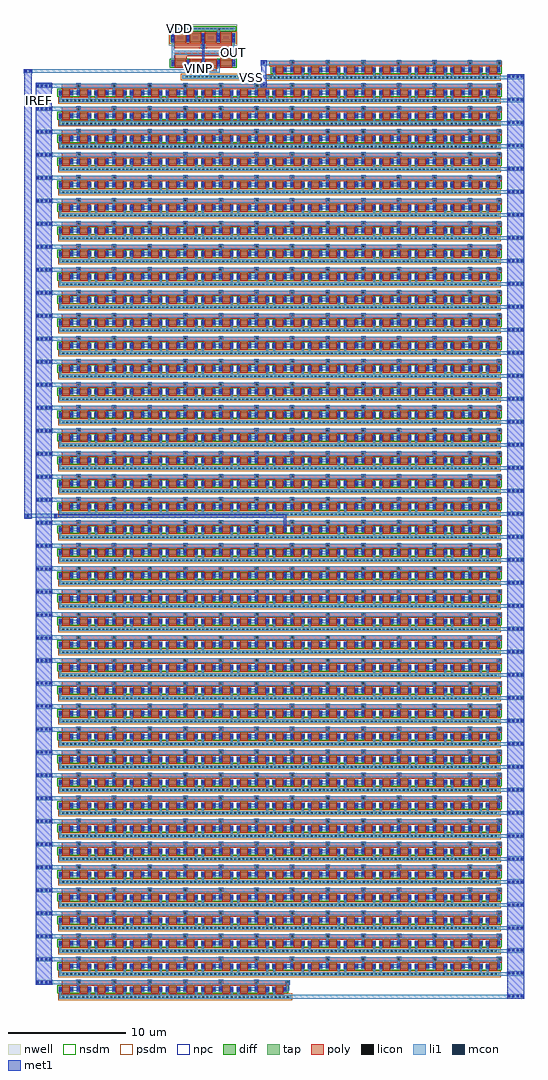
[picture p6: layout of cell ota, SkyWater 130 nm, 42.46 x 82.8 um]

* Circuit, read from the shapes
.subckt ota IREF OUT VDD VINN VINP VSS
XM1 IREF IREF VSS VSS sky130_fd_pr__nfet_01v8 w=0.42 l=0.65 m=1000
XM2 mirror_2/IOUT VINN OUT VSS sky130_fd_pr__nfet_01v8 w=0.5 l=1 m=2
XM3 sky130_fd_pr__nfet_01v8_RARW6L_1/D2 VINP mirror_2/IOUT VSS sky130_fd_pr__nfet_01v8 w=0.5 l=1 m=2
XM4 mirror_2/IOUT IREF VSS VSS sky130_fd_pr__nfet_01v8 w=0.42 l=0.65
XM5 VDD sky130_fd_pr__nfet_01v8_RARW6L_1/D2 OUT VDD sky130_fd_pr__pfet_01v8 w=0.75 l=1 m=2
XM6 sky130_fd_pr__nfet_01v8_RARW6L_1/D2 sky130_fd_pr__nfet_01v8_RARW6L_1/D2 VDD VDD sky130_fd_pr__pfet_01v8 w=0.75 l=1 m=2
.ends

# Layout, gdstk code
import gdstk
lib = gdstk.Library(unit=1e-6, precision=1e-09)
def R(c, l, rs):  # rectangles x0, y0, x1, y1
    for r in rs: c.add(gdstk.rectangle(r[:2], r[2:], *l))
def A(c, l, x, y, w, h, nx, ny, dx, dy):  # array of equal rectangles
    R(c, l, [(x+i*dx, y+j*dy, x+i*dx+w, y+j*dy+h) for i in range(nx) for j in range(ny)])
nwell = (64, 20)
diff = (65, 20)
tap = (65, 44)
poly = (66, 20)
licon = (66, 44)
li1 = (67, 20)
mcon = (67, 44)
met1 = (68, 20)
nsdm = (93, 44)
psdm = (94, 20)
npc = (95, 20)

sky130_fd_pr__pfet_01v8_ = lib.new_cell('sky130_fd_pr__pfet_01v8_C4AHC5')
R(sky130_fd_pr__pfet_01v8_, nwell, [(-2.905,-0.685,2.905,0.685)])
R(sky130_fd_pr__pfet_01v8_, diff, [(-2.725,-0.375,2.725,0.375)])
A(sky130_fd_pr__pfet_01v8_, poly, -2.435, -0.505, 1, 1.01, 4, 1, 1.29, 0)
A(sky130_fd_pr__pfet_01v8_, licon, -2.665, -0.255, 0.17, 0.17, 5, 2, 1.29, 0.34)
A(sky130_fd_pr__pfet_01v8_, li1, -2.665, -0.395, 0.17, 0.79, 5, 1, 1.29, 0)
A(sky130_fd_pr__pfet_01v8_, mcon, -2.665, -0.265, 0.17, 0.17, 5, 2, 1.29, 0.36)
A(sky130_fd_pr__pfet_01v8_, met1, -2.695, -0.375, 0.23, 0.75, 5, 1, 1.29, 0)
R(sky130_fd_pr__pfet_01v8_, psdm, [(-2.85,-0.5,2.85,0.5)])
sky130_fd_pr__pfet_01v8_.add(gdstk.Label('D0', (-2.58,0), layer=67, texttype=5))
sky130_fd_pr__pfet_01v8_.add(gdstk.Label('S1', (-1.29,0), layer=67, texttype=5))
sky130_fd_pr__pfet_01v8_.add(gdstk.Label('D2', (0,0), layer=67, texttype=5))
sky130_fd_pr__pfet_01v8_.add(gdstk.Label('S3', (1.29,0), layer=67, texttype=5))

sky130_fd_pr__nfet_01v8_ = lib.new_cell('sky130_fd_pr__nfet_01v8_RARW6L')
R(sky130_fd_pr__nfet_01v8_, diff, [(-2.725,-0.25,2.725,0.25)])
A(sky130_fd_pr__nfet_01v8_, poly, -2.435, -0.38, 1, 0.76, 4, 1, 1.29, 0)
A(sky130_fd_pr__nfet_01v8_, licon, -2.665, -0.085, 0.17, 0.17, 5, 1, 1.29, 0)
A(sky130_fd_pr__nfet_01v8_, li1, -2.665, -0.27, 0.17, 0.54, 5, 1, 1.29, 0)
A(sky130_fd_pr__nfet_01v8_, mcon, -2.665, -0.085, 0.17, 0.17, 5, 1, 1.29, 0)
A(sky130_fd_pr__nfet_01v8_, met1, -2.695, -0.25, 0.23, 0.5, 5, 1, 1.29, 0)
R(sky130_fd_pr__nfet_01v8_, nsdm, [(-2.85,-0.375,2.85,0.375)])
sky130_fd_pr__nfet_01v8_.add(gdstk.Label('D0', (-2.58,0), layer=67, texttype=5))
sky130_fd_pr__nfet_01v8_.add(gdstk.Label('S1', (-1.29,0), layer=67, texttype=5))
sky130_fd_pr__nfet_01v8_.add(gdstk.Label('D2', (0,0), layer=67, texttype=5))
sky130_fd_pr__nfet_01v8_.add(gdstk.Label('S3', (1.29,0), layer=67, texttype=5))

top = lib.new_cell('top')
A(top, diff, 26.92, 8.08, 1.23, 0.42, 13, 1, 1.51, 0)
R(top, tap, [(26.515,7.5,46.15,7.8)])
A(top, poly, 27.21, 7.95, 0.65, 0.65, 13, 1, 1.51, 0)
R(top, poly, [(26.64,8.6,46.4,9.05)])
A(top, licon, 26.715, 7.515, 0.17, 0.17, 57, 1, 0.34, 0)
A(top, licon, 28.515, 8.815, 0.17, 0.17, 6, 1, 3.02, 0)
R(top, licon, [(26.98,8.205,27.15,8.375), (27.92,8.205,28.09,8.375), (28.49,8.205,28.66,8.375), (29.43,8.205,29.6,8.375), (30,8.205,30.17,8.375), (30.94,8.205,31.11,8.375), (31.51,8.205,31.68,8.375), (32.45,8.205,32.62,8.375), (33.02,8.205,33.19,8.375), (33.96,8.205,34.13,8.375), (34.53,8.205,34.7,8.375), (35.47,8.205,35.64,8.375), (36.04,8.205,36.21,8.375), (36.98,8.205,37.15,8.375), (37.55,8.205,37.72,8.375), (38.49,8.205,38.66,8.375), (39.06,8.205,39.23,8.375), (40,8.205,40.17,8.375), (40.57,8.205,40.74,8.375), (41.51,8.205,41.68,8.375), (42.08,8.205,42.25,8.375), (43.02,8.205,43.19,8.375), (43.59,8.205,43.76,8.375), (44.53,8.205,44.7,8.375), (45.1,8.205,45.27,8.375), (46.04,8.205,46.21,8.375), (46.065,8.815,46.235,8.985)])
A(top, li1, 27.92, 8.14, 0.74, 0.3, 6, 1, 3.02, 0)
A(top, li1, 27.92, 8.44, 0.17, 0.08, 6, 1, 3.02, 0)
A(top, li1, 28.49, 8.44, 0.17, 0.26, 6, 1, 3.02, 0)
R(top, li1, [(26.515,7.5,48.2,7.8), (26.98,7.8,27.15,8.52), (29.43,7.8,29.6,8.52), (30,7.8,30.17,8.52), (32.45,7.8,32.62,8.52), (33.02,7.8,33.19,8.52), (35.47,7.8,35.64,8.52), (36.04,7.8,36.21,8.52), (38.49,7.8,38.66,8.52), (39.06,7.8,39.23,8.52), (41.51,7.8,41.68,8.52), (42.08,7.8,42.25,8.52), (44.53,7.8,44.7,8.52), (45.1,7.8,45.27,8.52), (46.9,7.8,48.2,7.85), (27.92,8.06,28.09,8.14), (28.49,8.06,28.66,8.14), (30.94,8.06,31.11,8.14), (31.51,8.06,31.68,8.14), (33.96,8.06,34.13,8.14), (34.53,8.06,34.7,8.14), (36.98,8.06,37.15,8.14), (37.55,8.06,37.72,8.14), (40,8.06,40.17,8.14), (40.57,8.06,40.74,8.14), (43.02,8.06,43.19,8.14), (43.59,8.06,43.76,8.14), (46.04,8.06,46.21,8.7), (26.29,8.67,26.69,8.7), (26.29,8.7,46.35,9.05), (26.29,9.05,26.69,9.07)])
A(top, mcon, 46.925, 7.59, 0.17, 0.17, 4, 1, 0.36, 0)
R(top, mcon, [(26.98,8.205,27.15,8.375), (27.92,8.205,28.09,8.375), (28.49,8.205,28.66,8.375), (29.43,8.205,29.6,8.375), (30,8.205,30.17,8.375), (30.94,8.205,31.11,8.375), (31.51,8.205,31.68,8.375), (32.45,8.205,32.62,8.375), (33.02,8.205,33.19,8.375), (33.96,8.205,34.13,8.375), (34.53,8.205,34.7,8.375), (35.47,8.205,35.64,8.375), (36.04,8.205,36.21,8.375), (36.98,8.205,37.15,8.375), (37.55,8.205,37.72,8.375), (38.49,8.205,38.66,8.375), (39.06,8.205,39.23,8.375), (40,8.205,40.17,8.375), (40.57,8.205,40.74,8.375), (41.51,8.205,41.68,8.375), (42.08,8.205,42.25,8.375), (43.02,8.205,43.19,8.375), (43.59,8.205,43.76,8.375), (44.53,8.205,44.7,8.375), (45.1,8.205,45.27,8.375), (46.04,8.205,46.21,8.375)])
R(top, met1, [(46.84,7.47,48.26,7.88), (26.95,8.08,27.18,8.5), (27.89,8.08,28.12,8.5), (28.46,8.08,28.69,8.5), (29.4,8.08,29.63,8.5), (29.97,8.08,30.2,8.5), (30.91,8.08,31.14,8.5), (31.48,8.08,31.71,8.5), (32.42,8.08,32.65,8.5), (32.99,8.08,33.22,8.5), (33.93,8.08,34.16,8.5), (34.5,8.08,34.73,8.5), (35.44,8.08,35.67,8.5), (36.01,8.08,36.24,8.5), (36.95,8.08,37.18,8.5), (37.52,8.08,37.75,8.5), (38.46,8.08,38.69,8.5), (39.03,8.08,39.26,8.5), (39.97,8.08,40.2,8.5), (40.54,8.08,40.77,8.5), (41.48,8.08,41.71,8.5), (42.05,8.08,42.28,8.5), (42.99,8.08,43.22,8.5), (43.56,8.08,43.79,8.5), (44.5,8.08,44.73,8.5), (45.07,8.08,45.3,8.5), (46.01,8.08,46.24,8.5)])
R(top, nsdm, [(26.795,7.955,46.395,8.625)])
R(top, psdm, [(26.39,7.375,46.275,7.925)])
A(top, npc, 28.415, 8.715, 0.37, 0.37, 6, 1, 3.02, 0)
R(top, npc, [(45.965,8.715,46.335,9.085)])
top.add(gdstk.Label('D12', (27.065,8.29), layer=67, texttype=5))
top.add(gdstk.Label('S12', (28.005,8.29), layer=67, texttype=5))
top.add(gdstk.Label('D13', (29.515,8.29), layer=67, texttype=5))
top.add(gdstk.Label('S13', (28.575,8.29), layer=67, texttype=5))
top.add(gdstk.Label('D14', (30.085,8.29), layer=67, texttype=5))
top.add(gdstk.Label('S14', (31.025,8.29), layer=67, texttype=5))
top.add(gdstk.Label('D15', (32.535,8.29), layer=67, texttype=5))
top.add(gdstk.Label('S15', (31.595,8.29), layer=67, texttype=5))
top.add(gdstk.Label('D16', (33.105,8.29), layer=67, texttype=5))
top.add(gdstk.Label('S16', (34.045,8.29), layer=67, texttype=5))
top.add(gdstk.Label('D17', (35.555,8.29), layer=67, texttype=5))
top.add(gdstk.Label('S17', (34.615,8.29), layer=67, texttype=5))
top.add(gdstk.Label('D18', (36.125,8.29), layer=67, texttype=5))
top.add(gdstk.Label('S18', (37.065,8.29), layer=67, texttype=5))
top.add(gdstk.Label('D19', (38.575,8.29), layer=67, texttype=5))
top.add(gdstk.Label('S19', (37.635,8.29), layer=67, texttype=5))
top.add(gdstk.Label('D20', (39.145,8.29), layer=67, texttype=5))
top.add(gdstk.Label('S20', (40.085,8.29), layer=67, texttype=5))
top.add(gdstk.Label('D21', (41.595,8.29), layer=67, texttype=5))
top.add(gdstk.Label('S21', (40.655,8.29), layer=67, texttype=5))
top.add(gdstk.Label('D22', (42.165,8.29), layer=67, texttype=5))
top.add(gdstk.Label('S22', (43.105,8.29), layer=67, texttype=5))
top.add(gdstk.Label('D23', (44.615,8.29), layer=67, texttype=5))
top.add(gdstk.Label('S23', (43.675,8.29), layer=67, texttype=5))
top.add(gdstk.Label('D24', (45.185,8.29), layer=67, texttype=5))
top.add(gdstk.Label('S24', (46.125,8.29), layer=67, texttype=5))

row = lib.new_cell('row')
A(row, diff, 8.8, 8.08, 1.23, 0.42, 25, 1, 1.51, 0)
R(row, tap, [(8.9,7.5,46.15,7.8)])
A(row, poly, 9.09, 7.95, 0.65, 0.65, 25, 1, 1.51, 0)
R(row, poly, [(9.05,8.6,46.4,9.05)])
A(row, licon, 9.08, 7.515, 0.17, 0.17, 109, 1, 0.34, 0)
A(row, licon, 10.395, 8.815, 0.17, 0.17, 12, 1, 3.02, 0)
R(row, licon, [(8.86,8.205,9.03,8.375), (9.8,8.205,9.97,8.375), (10.37,8.205,10.54,8.375), (11.31,8.205,11.48,8.375), (11.88,8.205,12.05,8.375), (12.82,8.205,12.99,8.375), (13.39,8.205,13.56,8.375), (14.33,8.205,14.5,8.375), (14.9,8.205,15.07,8.375), (15.84,8.205,16.01,8.375), (16.41,8.205,16.58,8.375), (17.35,8.205,17.52,8.375), (17.92,8.205,18.09,8.375), (18.86,8.205,19.03,8.375), (19.43,8.205,19.6,8.375), (20.37,8.205,20.54,8.375), (20.94,8.205,21.11,8.375), (21.88,8.205,22.05,8.375), (22.45,8.205,22.62,8.375), (23.39,8.205,23.56,8.375), (23.96,8.205,24.13,8.375), (24.9,8.205,25.07,8.375), (25.47,8.205,25.64,8.375), (26.41,8.205,26.58,8.375), (26.98,8.205,27.15,8.375), (27.92,8.205,28.09,8.375), (28.49,8.205,28.66,8.375), (29.43,8.205,29.6,8.375), (30,8.205,30.17,8.375), (30.94,8.205,31.11,8.375), (31.51,8.205,31.68,8.375), (32.45,8.205,32.62,8.375), (33.02,8.205,33.19,8.375), (33.96,8.205,34.13,8.375), (34.53,8.205,34.7,8.375), (35.47,8.205,35.64,8.375), (36.04,8.205,36.21,8.375), (36.98,8.205,37.15,8.375), (37.55,8.205,37.72,8.375), (38.49,8.205,38.66,8.375), (39.06,8.205,39.23,8.375), (40,8.205,40.17,8.375), (40.57,8.205,40.74,8.375), (41.51,8.205,41.68,8.375), (42.08,8.205,42.25,8.375), (43.02,8.205,43.19,8.375), (43.59,8.205,43.76,8.375), (44.53,8.205,44.7,8.375), (45.1,8.205,45.27,8.375), (46.04,8.205,46.21,8.375), (46.065,8.815,46.235,8.985)])
A(row, li1, 9.8, 8.14, 0.74, 0.3, 12, 1, 3.02, 0)
A(row, li1, 9.8, 8.44, 0.17, 0.08, 12, 1, 3.02, 0)
A(row, li1, 10.37, 8.44, 0.17, 0.26, 12, 1, 3.02, 0)
R(row, li1, [(8.85,7.5,48.2,7.79), (8.86,7.79,48.2,7.8), (8.86,7.8,9.03,8.52), (11.31,7.8,11.48,8.52), (11.88,7.8,12.05,8.52), (14.33,7.8,14.5,8.52), (14.9,7.8,15.07,8.52), (17.35,7.8,17.52,8.52), (17.92,7.8,18.09,8.52), (20.37,7.8,20.54,8.52), (20.94,7.8,21.11,8.52), (23.39,7.8,23.56,8.52), (23.96,7.8,24.13,8.52), (26.41,7.8,26.58,8.52), (26.98,7.8,27.15,8.52), (29.43,7.8,29.6,8.52), (30,7.8,30.17,8.52), (32.45,7.8,32.62,8.52), (33.02,7.8,33.19,8.52), (35.47,7.8,35.64,8.52), (36.04,7.8,36.21,8.52), (38.49,7.8,38.66,8.52), (39.06,7.8,39.23,8.52), (41.51,7.8,41.68,8.52), (42.08,7.8,42.25,8.52), (44.53,7.8,44.7,8.52), (45.1,7.8,45.27,8.52), (46.9,7.8,48.2,7.85), (9.8,8.06,9.97,8.14), (10.37,8.06,10.54,8.14), (12.82,8.06,12.99,8.14), (13.39,8.06,13.56,8.14), (15.84,8.06,16.01,8.14), (16.41,8.06,16.58,8.14), (18.86,8.06,19.03,8.14), (19.43,8.06,19.6,8.14), (21.88,8.06,22.05,8.14), (22.45,8.06,22.62,8.14), (24.9,8.06,25.07,8.14), (25.47,8.06,25.64,8.14), (27.92,8.06,28.09,8.14), (28.49,8.06,28.66,8.14), (30.94,8.06,31.11,8.14), (31.51,8.06,31.68,8.14), (33.96,8.06,34.13,8.14), (34.53,8.06,34.7,8.14), (36.98,8.06,37.15,8.14), (37.55,8.06,37.72,8.14), (40,8.06,40.17,8.14), (40.57,8.06,40.74,8.14), (43.02,8.06,43.19,8.14), (43.59,8.06,43.76,8.14), (46.04,8.06,46.21,8.7), (6.9,8.7,46.35,9.05)])
A(row, mcon, 46.925, 7.59, 0.17, 0.17, 4, 1, 0.36, 0)
A(row, mcon, 6.925, 8.79, 0.17, 0.17, 4, 1, 0.36, 0)
R(row, mcon, [(8.86,8.205,9.03,8.375), (9.8,8.205,9.97,8.375), (10.37,8.205,10.54,8.375), (11.31,8.205,11.48,8.375), (11.88,8.205,12.05,8.375), (12.82,8.205,12.99,8.375), (13.39,8.205,13.56,8.375), (14.33,8.205,14.5,8.375), (14.9,8.205,15.07,8.375), (15.84,8.205,16.01,8.375), (16.41,8.205,16.58,8.375), (17.35,8.205,17.52,8.375), (17.92,8.205,18.09,8.375), (18.86,8.205,19.03,8.375), (19.43,8.205,19.6,8.375), (20.37,8.205,20.54,8.375), (20.94,8.205,21.11,8.375), (21.88,8.205,22.05,8.375), (22.45,8.205,22.62,8.375), (23.39,8.205,23.56,8.375), (23.96,8.205,24.13,8.375), (24.9,8.205,25.07,8.375), (25.47,8.205,25.64,8.375), (26.41,8.205,26.58,8.375), (26.98,8.205,27.15,8.375), (27.92,8.205,28.09,8.375), (28.49,8.205,28.66,8.375), (29.43,8.205,29.6,8.375), (30,8.205,30.17,8.375), (30.94,8.205,31.11,8.375), (31.51,8.205,31.68,8.375), (32.45,8.205,32.62,8.375), (33.02,8.205,33.19,8.375), (33.96,8.205,34.13,8.375), (34.53,8.205,34.7,8.375), (35.47,8.205,35.64,8.375), (36.04,8.205,36.21,8.375), (36.98,8.205,37.15,8.375), (37.55,8.205,37.72,8.375), (38.49,8.205,38.66,8.375), (39.06,8.205,39.23,8.375), (40,8.205,40.17,8.375), (40.57,8.205,40.74,8.375), (41.51,8.205,41.68,8.375), (42.08,8.205,42.25,8.375), (43.02,8.205,43.19,8.375), (43.59,8.205,43.76,8.375), (44.53,8.205,44.7,8.375), (45.1,8.205,45.27,8.375), (46.04,8.205,46.21,8.375)])
R(row, met1, [(46.84,7.47,48.26,7.88), (8.83,8.08,9.06,8.5), (9.77,8.08,10,8.5), (10.34,8.08,10.57,8.5), (11.28,8.08,11.51,8.5), (11.85,8.08,12.08,8.5), (12.79,8.08,13.02,8.5), (13.36,8.08,13.59,8.5), (14.3,8.08,14.53,8.5), (14.87,8.08,15.1,8.5), (15.81,8.08,16.04,8.5), (16.38,8.08,16.61,8.5), (17.32,8.08,17.55,8.5), (17.89,8.08,18.12,8.5), (18.83,8.08,19.06,8.5), (19.4,8.08,19.63,8.5), (20.34,8.08,20.57,8.5), (20.91,8.08,21.14,8.5), (21.85,8.08,22.08,8.5), (22.42,8.08,22.65,8.5), (23.36,8.08,23.59,8.5), (23.93,8.08,24.16,8.5), (24.87,8.08,25.1,8.5), (25.44,8.08,25.67,8.5), (26.38,8.08,26.61,8.5), (26.95,8.08,27.18,8.5), (27.89,8.08,28.12,8.5), (28.46,8.08,28.69,8.5), (29.4,8.08,29.63,8.5), (29.97,8.08,30.2,8.5), (30.91,8.08,31.14,8.5), (31.48,8.08,31.71,8.5), (32.42,8.08,32.65,8.5), (32.99,8.08,33.22,8.5), (33.93,8.08,34.16,8.5), (34.5,8.08,34.73,8.5), (35.44,8.08,35.67,8.5), (36.01,8.08,36.24,8.5), (36.95,8.08,37.18,8.5), (37.52,8.08,37.75,8.5), (38.46,8.08,38.69,8.5), (39.03,8.08,39.26,8.5), (39.97,8.08,40.2,8.5), (40.54,8.08,40.77,8.5), (41.48,8.08,41.71,8.5), (42.05,8.08,42.28,8.5), (42.99,8.08,43.22,8.5), (43.56,8.08,43.79,8.5), (44.5,8.08,44.73,8.5), (45.07,8.08,45.3,8.5), (46.01,8.08,46.24,8.5), (6.84,8.67,8.26,9.08)])
R(row, nsdm, [(8.675,7.955,46.395,8.625)])
R(row, psdm, [(8.775,7.375,46.275,7.925)])
A(row, npc, 10.295, 8.715, 0.37, 0.37, 12, 1, 3.02, 0)
R(row, npc, [(45.965,8.715,46.335,9.085)])
row.add(gdstk.Label('D0', (8.945,8.29), layer=67, texttype=5))
row.add(gdstk.Label('S0', (9.885,8.29), layer=67, texttype=5))
row.add(gdstk.Label('D1', (11.395,8.29), layer=67, texttype=5))
row.add(gdstk.Label('S1', (10.455,8.29), layer=67, texttype=5))
row.add(gdstk.Label('D2', (11.965,8.29), layer=67, texttype=5))
row.add(gdstk.Label('S2', (12.905,8.29), layer=67, texttype=5))
row.add(gdstk.Label('D3', (14.415,8.29), layer=67, texttype=5))
row.add(gdstk.Label('S3', (13.475,8.29), layer=67, texttype=5))
row.add(gdstk.Label('D4', (14.985,8.29), layer=67, texttype=5))
row.add(gdstk.Label('S4', (15.925,8.29), layer=67, texttype=5))
row.add(gdstk.Label('D5', (17.435,8.29), layer=67, texttype=5))
row.add(gdstk.Label('S5', (16.495,8.29), layer=67, texttype=5))
row.add(gdstk.Label('D6', (18.005,8.29), layer=67, texttype=5))
row.add(gdstk.Label('S6', (18.945,8.29), layer=67, texttype=5))
row.add(gdstk.Label('D7', (20.455,8.29), layer=67, texttype=5))
row.add(gdstk.Label('S7', (19.515,8.29), layer=67, texttype=5))
row.add(gdstk.Label('D8', (21.025,8.29), layer=67, texttype=5))
row.add(gdstk.Label('S8', (21.965,8.29), layer=67, texttype=5))
row.add(gdstk.Label('D9', (23.475,8.29), layer=67, texttype=5))
row.add(gdstk.Label('S9', (22.535,8.29), layer=67, texttype=5))
row.add(gdstk.Label('D10', (24.045,8.29), layer=67, texttype=5))
row.add(gdstk.Label('S10', (24.985,8.29), layer=67, texttype=5))
row.add(gdstk.Label('D11', (26.495,8.29), layer=67, texttype=5))
row.add(gdstk.Label('S11', (25.555,8.29), layer=67, texttype=5))
row.add(gdstk.Label('D12', (27.065,8.29), layer=67, texttype=5))
row.add(gdstk.Label('S12', (28.005,8.29), layer=67, texttype=5))
row.add(gdstk.Label('D13', (29.515,8.29), layer=67, texttype=5))
row.add(gdstk.Label('S13', (28.575,8.29), layer=67, texttype=5))
row.add(gdstk.Label('D14', (30.085,8.29), layer=67, texttype=5))
row.add(gdstk.Label('S14', (31.025,8.29), layer=67, texttype=5))
row.add(gdstk.Label('D15', (32.535,8.29), layer=67, texttype=5))
row.add(gdstk.Label('S15', (31.595,8.29), layer=67, texttype=5))
row.add(gdstk.Label('D16', (33.105,8.29), layer=67, texttype=5))
row.add(gdstk.Label('S16', (34.045,8.29), layer=67, texttype=5))
row.add(gdstk.Label('D17', (35.555,8.29), layer=67, texttype=5))
row.add(gdstk.Label('S17', (34.615,8.29), layer=67, texttype=5))
row.add(gdstk.Label('D18', (36.125,8.29), layer=67, texttype=5))
row.add(gdstk.Label('S18', (37.065,8.29), layer=67, texttype=5))
row.add(gdstk.Label('D19', (38.575,8.29), layer=67, texttype=5))
row.add(gdstk.Label('S19', (37.635,8.29), layer=67, texttype=5))
row.add(gdstk.Label('D20', (39.145,8.29), layer=67, texttype=5))
row.add(gdstk.Label('S20', (40.085,8.29), layer=67, texttype=5))
row.add(gdstk.Label('D21', (41.595,8.29), layer=67, texttype=5))
row.add(gdstk.Label('S21', (40.655,8.29), layer=67, texttype=5))
row.add(gdstk.Label('D22', (42.165,8.29), layer=67, texttype=5))
row.add(gdstk.Label('S22', (43.105,8.29), layer=67, texttype=5))
row.add(gdstk.Label('D23', (44.615,8.29), layer=67, texttype=5))
row.add(gdstk.Label('S23', (43.675,8.29), layer=67, texttype=5))
row.add(gdstk.Label('D24', (45.185,8.29), layer=67, texttype=5))
row.add(gdstk.Label('S24', (46.125,8.29), layer=67, texttype=5))

midrow = lib.new_cell('midrow')
A(midrow, diff, 8.8, 8.08, 1.23, 0.42, 25, 1, 1.51, 0)
R(midrow, tap, [(8.9,7.5,46.15,7.8)])
A(midrow, poly, 9.09, 7.95, 0.65, 0.65, 25, 1, 1.51, 0)
R(midrow, poly, [(9.05,8.6,46.4,9.05)])
A(midrow, licon, 9.08, 7.515, 0.17, 0.17, 109, 1, 0.34, 0)
A(midrow, licon, 10.395, 8.815, 0.17, 0.17, 12, 1, 3.02, 0)
R(midrow, licon, [(8.86,8.205,9.03,8.375), (9.8,8.205,9.97,8.375), (10.37,8.205,10.54,8.375), (11.31,8.205,11.48,8.375), (11.88,8.205,12.05,8.375), (12.82,8.205,12.99,8.375), (13.39,8.205,13.56,8.375), (14.33,8.205,14.5,8.375), (14.9,8.205,15.07,8.375), (15.84,8.205,16.01,8.375), (16.41,8.205,16.58,8.375), (17.35,8.205,17.52,8.375), (17.92,8.205,18.09,8.375), (18.86,8.205,19.03,8.375), (19.43,8.205,19.6,8.375), (20.37,8.205,20.54,8.375), (20.94,8.205,21.11,8.375), (21.88,8.205,22.05,8.375), (22.45,8.205,22.62,8.375), (23.39,8.205,23.56,8.375), (23.96,8.205,24.13,8.375), (24.9,8.205,25.07,8.375), (25.47,8.205,25.64,8.375), (26.41,8.205,26.58,8.375), (26.98,8.205,27.15,8.375), (27.92,8.205,28.09,8.375), (28.49,8.205,28.66,8.375), (29.43,8.205,29.6,8.375), (30,8.205,30.17,8.375), (30.94,8.205,31.11,8.375), (31.51,8.205,31.68,8.375), (32.45,8.205,32.62,8.375), (33.02,8.205,33.19,8.375), (33.96,8.205,34.13,8.375), (34.53,8.205,34.7,8.375), (35.47,8.205,35.64,8.375), (36.04,8.205,36.21,8.375), (36.98,8.205,37.15,8.375), (37.55,8.205,37.72,8.375), (38.49,8.205,38.66,8.375), (39.06,8.205,39.23,8.375), (40,8.205,40.17,8.375), (40.57,8.205,40.74,8.375), (41.51,8.205,41.68,8.375), (42.08,8.205,42.25,8.375), (43.02,8.205,43.19,8.375), (43.59,8.205,43.76,8.375), (44.53,8.205,44.7,8.375), (45.1,8.205,45.27,8.375), (46.04,8.205,46.21,8.375), (46.065,8.815,46.235,8.985)])
A(midrow, li1, 9.8, 8.14, 0.74, 0.3, 6, 1, 3.02, 0)
A(midrow, li1, 30.94, 8.14, 0.74, 0.3, 5, 1, 3.02, 0)
A(midrow, li1, 9.8, 8.44, 0.17, 0.08, 6, 1, 3.02, 0)
A(midrow, li1, 10.37, 8.44, 0.17, 0.26, 6, 1, 3.02, 0)
A(midrow, li1, 30.94, 8.44, 0.17, 0.08, 5, 1, 3.02, 0)
A(midrow, li1, 31.51, 8.44, 0.17, 0.26, 5, 1, 3.02, 0)
R(midrow, li1, [(8.85,7.5,48.2,7.79), (8.86,7.79,48.2,7.8), (8.86,7.8,9.03,8.52), (11.31,7.8,11.48,8.52), (11.88,7.8,12.05,8.52), (14.33,7.8,14.5,8.52), (14.9,7.8,15.07,8.52), (17.35,7.8,17.52,8.52), (17.92,7.8,18.09,8.52), (20.37,7.8,20.54,8.52), (20.94,7.8,21.11,8.52), (23.39,7.8,23.56,8.52), (23.96,7.8,24.13,8.52), (26.41,7.8,26.58,8.52), (26.98,7.8,27.15,8.52), (29.43,7.8,29.6,8.52), (30,7.8,30.17,8.52), (32.45,7.8,32.62,8.52), (33.02,7.8,33.19,8.52), (35.47,7.8,35.64,8.52), (36.04,7.8,36.21,8.52), (38.49,7.8,38.66,8.52), (39.06,7.8,39.23,8.52), (41.51,7.8,41.68,8.52), (42.08,7.8,42.25,8.52), (44.53,7.8,44.7,8.52), (45.1,7.8,45.27,8.52), (46.9,7.8,48.2,7.85), (9.8,8.06,9.97,8.14), (10.37,8.06,10.54,8.14), (12.82,8.06,12.99,8.14), (13.39,8.06,13.56,8.14), (15.84,8.06,16.01,8.14), (16.41,8.06,16.58,8.14), (18.86,8.06,19.03,8.14), (19.43,8.06,19.6,8.14), (21.88,8.06,22.05,8.14), (22.45,8.06,22.62,8.14), (24.9,8.06,25.07,8.14), (25.47,8.06,25.64,8.14), (27.92,8.06,28.09,8.52), (28.49,8.06,28.66,8.7), (30.94,8.06,31.11,8.14), (31.51,8.06,31.68,8.14), (33.96,8.06,34.13,8.14), (34.53,8.06,34.7,8.14), (36.98,8.06,37.15,8.14), (37.55,8.06,37.72,8.14), (40,8.06,40.17,8.14), (40.57,8.06,40.74,8.14), (43.02,8.06,43.19,8.14), (43.59,8.06,43.76,8.14), (46.04,8.06,46.21,8.7), (6.9,8.7,46.35,9.05)])
A(midrow, mcon, 46.925, 7.59, 0.17, 0.17, 4, 1, 0.36, 0)
A(midrow, mcon, 6.925, 8.79, 0.17, 0.17, 4, 1, 0.36, 0)
R(midrow, mcon, [(8.86,8.205,9.03,8.375), (9.8,8.205,9.97,8.375), (10.37,8.205,10.54,8.375), (11.31,8.205,11.48,8.375), (11.88,8.205,12.05,8.375), (12.82,8.205,12.99,8.375), (13.39,8.205,13.56,8.375), (14.33,8.205,14.5,8.375), (14.9,8.205,15.07,8.375), (15.84,8.205,16.01,8.375), (16.41,8.205,16.58,8.375), (17.35,8.205,17.52,8.375), (17.92,8.205,18.09,8.375), (18.86,8.205,19.03,8.375), (19.43,8.205,19.6,8.375), (20.37,8.205,20.54,8.375), (20.94,8.205,21.11,8.375), (21.88,8.205,22.05,8.375), (22.45,8.205,22.62,8.375), (23.39,8.205,23.56,8.375), (23.96,8.205,24.13,8.375), (24.9,8.205,25.07,8.375), (25.47,8.205,25.64,8.375), (26.41,8.205,26.58,8.375), (26.98,8.205,27.15,8.375), (27.92,8.205,28.09,8.375), (28.49,8.205,28.66,8.375), (29.43,8.205,29.6,8.375), (30,8.205,30.17,8.375), (30.94,8.205,31.11,8.375), (31.51,8.205,31.68,8.375), (32.45,8.205,32.62,8.375), (33.02,8.205,33.19,8.375), (33.96,8.205,34.13,8.375), (34.53,8.205,34.7,8.375), (35.47,8.205,35.64,8.375), (36.04,8.205,36.21,8.375), (36.98,8.205,37.15,8.375), (37.55,8.205,37.72,8.375), (38.49,8.205,38.66,8.375), (39.06,8.205,39.23,8.375), (40,8.205,40.17,8.375), (40.57,8.205,40.74,8.375), (41.51,8.205,41.68,8.375), (42.08,8.205,42.25,8.375), (43.02,8.205,43.19,8.375), (43.59,8.205,43.76,8.375), (44.53,8.205,44.7,8.375), (45.1,8.205,45.27,8.375), (46.04,8.205,46.21,8.375)])
R(midrow, met1, [(46.84,7.47,48.26,7.88), (8.83,8.08,9.06,8.5), (9.77,8.08,10,8.5), (10.34,8.08,10.57,8.5), (11.28,8.08,11.51,8.5), (11.85,8.08,12.08,8.5), (12.79,8.08,13.02,8.5), (13.36,8.08,13.59,8.5), (14.3,8.08,14.53,8.5), (14.87,8.08,15.1,8.5), (15.81,8.08,16.04,8.5), (16.38,8.08,16.61,8.5), (17.32,8.08,17.55,8.5), (17.89,8.08,18.12,8.5), (18.83,8.08,19.06,8.5), (19.4,8.08,19.63,8.5), (20.34,8.08,20.57,8.5), (20.91,8.08,21.14,8.5), (21.85,8.08,22.08,8.5), (22.42,8.08,22.65,8.5), (23.36,8.08,23.59,8.5), (23.93,8.08,24.16,8.5), (24.87,8.08,25.1,8.5), (25.44,8.08,25.67,8.5), (26.38,8.08,26.61,8.5), (26.95,8.08,27.18,8.5), (27.89,8.08,28.12,8.5), (28.46,8.08,28.69,8.5), (29.4,8.08,29.63,8.5), (29.97,8.08,30.2,8.5), (30.91,8.08,31.14,8.5), (31.48,8.08,31.71,8.5), (32.42,8.08,32.65,8.5), (32.99,8.08,33.22,8.5), (33.93,8.08,34.16,8.5), (34.5,8.08,34.73,8.5), (35.44,8.08,35.67,8.5), (36.01,8.08,36.24,8.5), (36.95,8.08,37.18,8.5), (37.52,8.08,37.75,8.5), (38.46,8.08,38.69,8.5), (39.03,8.08,39.26,8.5), (39.97,8.08,40.2,8.5), (40.54,8.08,40.77,8.5), (41.48,8.08,41.71,8.5), (42.05,8.08,42.28,8.5), (42.99,8.08,43.22,8.5), (43.56,8.08,43.79,8.5), (44.5,8.08,44.73,8.5), (45.07,8.08,45.3,8.5), (46.01,8.08,46.24,8.5), (6.84,8.67,8.26,9.08)])
R(midrow, nsdm, [(8.675,7.955,46.395,8.625)])
R(midrow, psdm, [(8.775,7.375,46.275,7.925)])
A(midrow, npc, 10.295, 8.715, 0.37, 0.37, 12, 1, 3.02, 0)
R(midrow, npc, [(45.965,8.715,46.335,9.085)])
midrow.add(gdstk.Label('D0', (8.945,8.29), layer=67, texttype=5))
midrow.add(gdstk.Label('S0', (9.885,8.29), layer=67, texttype=5))
midrow.add(gdstk.Label('D1', (11.395,8.29), layer=67, texttype=5))
midrow.add(gdstk.Label('S1', (10.455,8.29), layer=67, texttype=5))
midrow.add(gdstk.Label('D2', (11.965,8.29), layer=67, texttype=5))
midrow.add(gdstk.Label('S2', (12.905,8.29), layer=67, texttype=5))
midrow.add(gdstk.Label('D3', (14.415,8.29), layer=67, texttype=5))
midrow.add(gdstk.Label('S3', (13.475,8.29), layer=67, texttype=5))
midrow.add(gdstk.Label('D4', (14.985,8.29), layer=67, texttype=5))
midrow.add(gdstk.Label('S4', (15.925,8.29), layer=67, texttype=5))
midrow.add(gdstk.Label('D5', (17.435,8.29), layer=67, texttype=5))
midrow.add(gdstk.Label('S5', (16.495,8.29), layer=67, texttype=5))
midrow.add(gdstk.Label('D6', (18.005,8.29), layer=67, texttype=5))
midrow.add(gdstk.Label('S6', (18.945,8.29), layer=67, texttype=5))
midrow.add(gdstk.Label('D7', (20.455,8.29), layer=67, texttype=5))
midrow.add(gdstk.Label('S7', (19.515,8.29), layer=67, texttype=5))
midrow.add(gdstk.Label('D8', (21.025,8.29), layer=67, texttype=5))
midrow.add(gdstk.Label('S8', (21.965,8.29), layer=67, texttype=5))
midrow.add(gdstk.Label('D9', (23.475,8.29), layer=67, texttype=5))
midrow.add(gdstk.Label('S9', (22.535,8.29), layer=67, texttype=5))
midrow.add(gdstk.Label('D10', (24.045,8.29), layer=67, texttype=5))
midrow.add(gdstk.Label('S10', (24.985,8.29), layer=67, texttype=5))
midrow.add(gdstk.Label('D11', (26.495,8.29), layer=67, texttype=5))
midrow.add(gdstk.Label('S11', (25.555,8.29), layer=67, texttype=5))
midrow.add(gdstk.Label('D12', (27.065,8.29), layer=67, texttype=5))
midrow.add(gdstk.Label('S12', (28.005,8.29), layer=67, texttype=5))
midrow.add(gdstk.Label('D13', (29.515,8.29), layer=67, texttype=5))
midrow.add(gdstk.Label('S13', (28.575,8.29), layer=67, texttype=5))
midrow.add(gdstk.Label('D14', (30.085,8.29), layer=67, texttype=5))
midrow.add(gdstk.Label('S14', (31.025,8.29), layer=67, texttype=5))
midrow.add(gdstk.Label('D15', (32.535,8.29), layer=67, texttype=5))
midrow.add(gdstk.Label('S15', (31.595,8.29), layer=67, texttype=5))
midrow.add(gdstk.Label('D16', (33.105,8.29), layer=67, texttype=5))
midrow.add(gdstk.Label('S16', (34.045,8.29), layer=67, texttype=5))
midrow.add(gdstk.Label('D17', (35.555,8.29), layer=67, texttype=5))
midrow.add(gdstk.Label('S17', (34.615,8.29), layer=67, texttype=5))
midrow.add(gdstk.Label('D18', (36.125,8.29), layer=67, texttype=5))
midrow.add(gdstk.Label('S18', (37.065,8.29), layer=67, texttype=5))
midrow.add(gdstk.Label('D19', (38.575,8.29), layer=67, texttype=5))
midrow.add(gdstk.Label('S19', (37.635,8.29), layer=67, texttype=5))
midrow.add(gdstk.Label('D20', (39.145,8.29), layer=67, texttype=5))
midrow.add(gdstk.Label('S20', (40.085,8.29), layer=67, texttype=5))
midrow.add(gdstk.Label('D21', (41.595,8.29), layer=67, texttype=5))
midrow.add(gdstk.Label('S21', (40.655,8.29), layer=67, texttype=5))
midrow.add(gdstk.Label('D22', (42.165,8.29), layer=67, texttype=5))
midrow.add(gdstk.Label('S22', (43.105,8.29), layer=67, texttype=5))
midrow.add(gdstk.Label('D23', (44.615,8.29), layer=67, texttype=5))
midrow.add(gdstk.Label('S23', (43.675,8.29), layer=67, texttype=5))
midrow.add(gdstk.Label('D24', (45.185,8.29), layer=67, texttype=5))
midrow.add(gdstk.Label('S24', (46.125,8.29), layer=67, texttype=5))

bot = lib.new_cell('bot')
A(bot, diff, 8.8, 8.08, 1.23, 0.42, 13, 1, 1.51, 0)
R(bot, tap, [(8.9,7.5,28.49,7.8), (28.09,7.8,28.49,7.805)])
A(bot, poly, 9.09, 7.95, 0.65, 0.65, 13, 1, 1.51, 0)
R(bot, poly, [(9.05,8.6,28.34,9.05)])
A(bot, licon, 9.09, 7.515, 0.17, 0.17, 57, 1, 0.34, 0)
A(bot, licon, 10.395, 8.815, 0.17, 0.17, 6, 1, 3.02, 0)
R(bot, licon, [(8.86,8.205,9.03,8.375), (9.8,8.205,9.97,8.375), (10.37,8.205,10.54,8.375), (11.31,8.205,11.48,8.375), (11.88,8.205,12.05,8.375), (12.82,8.205,12.99,8.375), (13.39,8.205,13.56,8.375), (14.33,8.205,14.5,8.375), (14.9,8.205,15.07,8.375), (15.84,8.205,16.01,8.375), (16.41,8.205,16.58,8.375), (17.35,8.205,17.52,8.375), (17.92,8.205,18.09,8.375), (18.86,8.205,19.03,8.375), (19.43,8.205,19.6,8.375), (20.37,8.205,20.54,8.375), (20.94,8.205,21.11,8.375), (21.88,8.205,22.05,8.375), (22.45,8.205,22.62,8.375), (23.39,8.205,23.56,8.375), (23.96,8.205,24.13,8.375), (24.9,8.205,25.07,8.375), (25.47,8.205,25.64,8.375), (26.41,8.205,26.58,8.375), (26.98,8.205,27.15,8.375), (27.92,8.205,28.09,8.375), (28.105,8.785,28.275,8.955)])
A(bot, li1, 9.8, 8.14, 0.74, 0.3, 6, 1, 3.02, 0)
A(bot, li1, 9.8, 8.44, 0.17, 0.08, 6, 1, 3.02, 0)
A(bot, li1, 10.37, 8.44, 0.17, 0.26, 6, 1, 3.02, 0)
R(bot, li1, [(8.85,7.5,48.2,7.79), (8.86,7.79,48.2,7.8), (8.86,7.8,9.03,8.52), (11.31,7.8,11.48,8.52), (11.88,7.8,12.05,8.52), (14.33,7.8,14.5,8.52), (14.9,7.8,15.07,8.52), (17.35,7.8,17.52,8.52), (17.92,7.8,18.09,8.52), (20.37,7.8,20.54,8.52), (20.94,7.8,21.11,8.52), (23.39,7.8,23.56,8.52), (23.96,7.8,24.13,8.52), (26.41,7.8,26.58,8.52), (26.98,7.8,27.15,8.52), (46.9,7.8,48.2,7.85), (9.8,8.06,9.97,8.14), (10.37,8.06,10.54,8.14), (12.82,8.06,12.99,8.14), (13.39,8.06,13.56,8.14), (15.84,8.06,16.01,8.14), (16.41,8.06,16.58,8.14), (18.86,8.06,19.03,8.14), (19.43,8.06,19.6,8.14), (21.88,8.06,22.05,8.14), (22.45,8.06,22.62,8.14), (24.9,8.06,25.07,8.14), (25.47,8.06,25.64,8.14), (27.92,8.06,28.09,8.14), (27.92,8.14,28.34,8.52), (28.09,8.52,28.34,8.7), (6.9,8.7,28.34,9.05)])
A(bot, mcon, 46.925, 7.59, 0.17, 0.17, 4, 1, 0.36, 0)
A(bot, mcon, 6.925, 8.79, 0.17, 0.17, 4, 1, 0.36, 0)
R(bot, mcon, [(8.86,8.205,9.03,8.375), (9.8,8.205,9.97,8.375), (10.37,8.205,10.54,8.375), (11.31,8.205,11.48,8.375), (11.88,8.205,12.05,8.375), (12.82,8.205,12.99,8.375), (13.39,8.205,13.56,8.375), (14.33,8.205,14.5,8.375), (14.9,8.205,15.07,8.375), (15.84,8.205,16.01,8.375), (16.41,8.205,16.58,8.375), (17.35,8.205,17.52,8.375), (17.92,8.205,18.09,8.375), (18.86,8.205,19.03,8.375), (19.43,8.205,19.6,8.375), (20.37,8.205,20.54,8.375), (20.94,8.205,21.11,8.375), (21.88,8.205,22.05,8.375), (22.45,8.205,22.62,8.375), (23.39,8.205,23.56,8.375), (23.96,8.205,24.13,8.375), (24.9,8.205,25.07,8.375), (25.47,8.205,25.64,8.375), (26.41,8.205,26.58,8.375), (26.98,8.205,27.15,8.375), (27.92,8.205,28.09,8.375)])
R(bot, met1, [(46.84,7.47,48.26,7.88), (8.83,8.08,9.06,8.5), (9.77,8.08,10,8.5), (10.34,8.08,10.57,8.5), (11.28,8.08,11.51,8.5), (11.85,8.08,12.08,8.5), (12.79,8.08,13.02,8.5), (13.36,8.08,13.59,8.5), (14.3,8.08,14.53,8.5), (14.87,8.08,15.1,8.5), (15.81,8.08,16.04,8.5), (16.38,8.08,16.61,8.5), (17.32,8.08,17.55,8.5), (17.89,8.08,18.12,8.5), (18.83,8.08,19.06,8.5), (19.4,8.08,19.63,8.5), (20.34,8.08,20.57,8.5), (20.91,8.08,21.14,8.5), (21.85,8.08,22.08,8.5), (22.42,8.08,22.65,8.5), (23.36,8.08,23.59,8.5), (23.93,8.08,24.16,8.5), (24.87,8.08,25.1,8.5), (25.44,8.08,25.67,8.5), (26.38,8.08,26.61,8.5), (26.95,8.08,27.18,8.5), (27.89,8.08,28.12,8.5), (6.84,8.67,8.26,9.08)])
R(bot, nsdm, [(8.675,7.955,28.275,8.625)])
R(bot, psdm, [(8.775,7.375,28.615,7.925), (27.965,7.925,28.615,7.93)])
A(bot, npc, 10.295, 8.715, 0.37, 0.37, 6, 1, 3.02, 0)
R(bot, npc, [(28.005,8.685,28.375,9.055)])
bot.add(gdstk.Label('D0', (8.945,8.29), layer=67, texttype=5))
bot.add(gdstk.Label('S0', (9.885,8.29), layer=67, texttype=5))
bot.add(gdstk.Label('D1', (11.395,8.29), layer=67, texttype=5))
bot.add(gdstk.Label('S1', (10.455,8.29), layer=67, texttype=5))
bot.add(gdstk.Label('D2', (11.965,8.29), layer=67, texttype=5))
bot.add(gdstk.Label('S2', (12.905,8.29), layer=67, texttype=5))
bot.add(gdstk.Label('D3', (14.415,8.29), layer=67, texttype=5))
bot.add(gdstk.Label('S3', (13.475,8.29), layer=67, texttype=5))
bot.add(gdstk.Label('D4', (14.985,8.29), layer=67, texttype=5))
bot.add(gdstk.Label('S4', (15.925,8.29), layer=67, texttype=5))
bot.add(gdstk.Label('D5', (17.435,8.29), layer=67, texttype=5))
bot.add(gdstk.Label('S5', (16.495,8.29), layer=67, texttype=5))
bot.add(gdstk.Label('D6', (18.005,8.29), layer=67, texttype=5))
bot.add(gdstk.Label('S6', (18.945,8.29), layer=67, texttype=5))
bot.add(gdstk.Label('D7', (20.455,8.29), layer=67, texttype=5))
bot.add(gdstk.Label('S7', (19.515,8.29), layer=67, texttype=5))
bot.add(gdstk.Label('D8', (21.025,8.29), layer=67, texttype=5))
bot.add(gdstk.Label('S8', (21.965,8.29), layer=67, texttype=5))
bot.add(gdstk.Label('D9', (23.475,8.29), layer=67, texttype=5))
bot.add(gdstk.Label('S9', (22.535,8.29), layer=67, texttype=5))
bot.add(gdstk.Label('D10', (24.045,8.29), layer=67, texttype=5))
bot.add(gdstk.Label('S10', (24.985,8.29), layer=67, texttype=5))
bot.add(gdstk.Label('D11', (26.495,8.29), layer=67, texttype=5))
bot.add(gdstk.Label('S11', (25.555,8.29), layer=67, texttype=5))
bot.add(gdstk.Label('D12', (27.065,8.29), layer=67, texttype=5))
bot.add(gdstk.Label('S12', (28.005,8.29), layer=67, texttype=5))

mirror = lib.new_cell('mirror')
R(mirror, li1, [(6.25,51.9,8.35,52.25), (25.7,88.45,26.1,88.85), (25.7,90.3,26.1,90.7)])
R(mirror, mcon, [(8.165,51.99,8.335,52.16), (25.815,88.565,25.985,88.735), (25.815,90.415,25.985,90.585)])
R(mirror, met1, [(46.55,11.1,48,89.55), (6.55,12.3,7.9,88.8), (27.6,50.7,27.8,51.93), (8.12,51.89,8.38,51.93), (8.12,51.93,27.8,52.2), (8.12,52.2,8.38,52.26), (25.64,88.42,26.16,88.88), (25.7,88.88,26.1,90.27), (25.64,90.27,26.16,90.73)])
mirror.add(gdstk.Reference(top, (-0.29,81.63)))
r = gdstk.Reference(row, (-0.29,44.58)); r.repetition = gdstk.Repetition(1, 19, v1=(41.45,0), v2=(0,1.95)); mirror.add(r)
r = gdstk.Reference(row, (-0.29,5.58)); r.repetition = gdstk.Repetition(1, 19, v1=(41.45,0), v2=(0,1.95)); mirror.add(r)
mirror.add(gdstk.Reference(midrow, (-0.29,42.63)))
mirror.add(gdstk.Reference(bot, (-0.29,3.63)))
mirror.add(gdstk.Label('IOUT', (6.3,52.1), layer=67, texttype=5))
mirror.add(gdstk.Label('IREF', (7.35,52.65), layer=68, texttype=5))
mirror.add(gdstk.Label('VSS', (47.4,53.05), layer=68, texttype=5))

ota = lib.new_cell('ota')
R(ota, nwell, [(11.9,82.15,17.05,82.2), (11.6,82.2,17.4,82.7)])
R(ota, tap, [(12.75,78.05,18.25,78.35), (11.85,82.2,17.2,82.4)])
R(ota, poly, [(13.4,78.7,15.65,79), (12.1,79.75,13.1,79.975), (16,79.75,16.95,79.975), (12.1,79.975,16.95,80.275), (12.05,80.65,16.95,81.05)])
A(ota, licon, 13.035, 78.165, 0.17, 0.17, 15, 1, 0.34, 0)
A(ota, licon, 12.06, 82.215, 0.17, 0.17, 15, 1, 0.34, 0)
R(ota, licon, [(14.415,80.72,14.585,80.89)])
R(ota, li1, [(-0.6,40.8,0.1,41.15), (18.15,78.035,20.7,78.05), (12.75,78.05,20.7,78.335), (12.75,78.335,18.25,78.35), (-0.65,78.55,15.9,78.85), (13.15,78.85,13.35,79.19), (15.7,78.85,15.9,79.19), (11.85,79.55,12.05,80.095), (17,79.6,17.2,80.095), (11.85,80.095,17.2,80.445), (11.85,80.445,12.05,81.2), (17,80.445,17.2,81.25), (14.3,80.62,14.7,80.97), (14.42,80.97,14.59,81.22), (15.7,81.85,15.9,82.2), (13.1,81.9,13.3,82.2), (11.85,82.2,17.2,82.4)])
R(ota, mcon, [(-0.435,40.89,-0.265,41.06), (-0.615,78.615,-0.445,78.785), (-0.255,78.615,-0.085,78.785)])
R(ota, met1, [(-0.65,40.75,-0.05,40.77), (-0.66,40.77,-0.04,41.18), (-0.65,41.18,-0.05,78.52), (0.35,76,0.95,76.45), (-0.71,78.52,0.01,78.88), (14.45,79.1,14.6,81.3)])
R(ota, nsdm, [(11.725,82.075,17.325,82.525)])
R(ota, psdm, [(12.625,77.925,18.375,78.475)])
R(ota, npc, [(14.315,80.62,14.685,80.99)])
ota.add(gdstk.Reference(sky130_fd_pr__pfet_01v8_, (14.505,81.535)))
ota.add(gdstk.Reference(sky130_fd_pr__nfet_01v8_, (14.525,79.38)))
ota.add(gdstk.Reference(mirror, (-6.25,-11.1)))
ota.add(gdstk.Label('VDD', (12.5,82.3), layer=67, texttype=5))
ota.add(gdstk.Label('VSS', (18.65,78.2), layer=67, texttype=5))
ota.add(gdstk.Label('IREF', (0.65,76.25), layer=68, texttype=5))
ota.add(gdstk.Label('VINP', (14.1,78.95), layer=66, texttype=5))
ota.add(gdstk.Label('VINN', (16.55,79.9), layer=66, texttype=5))
ota.add(gdstk.Label('OUT', (17.1,80.3), layer=67, texttype=5))

lib.write_gds('ota.gds')
